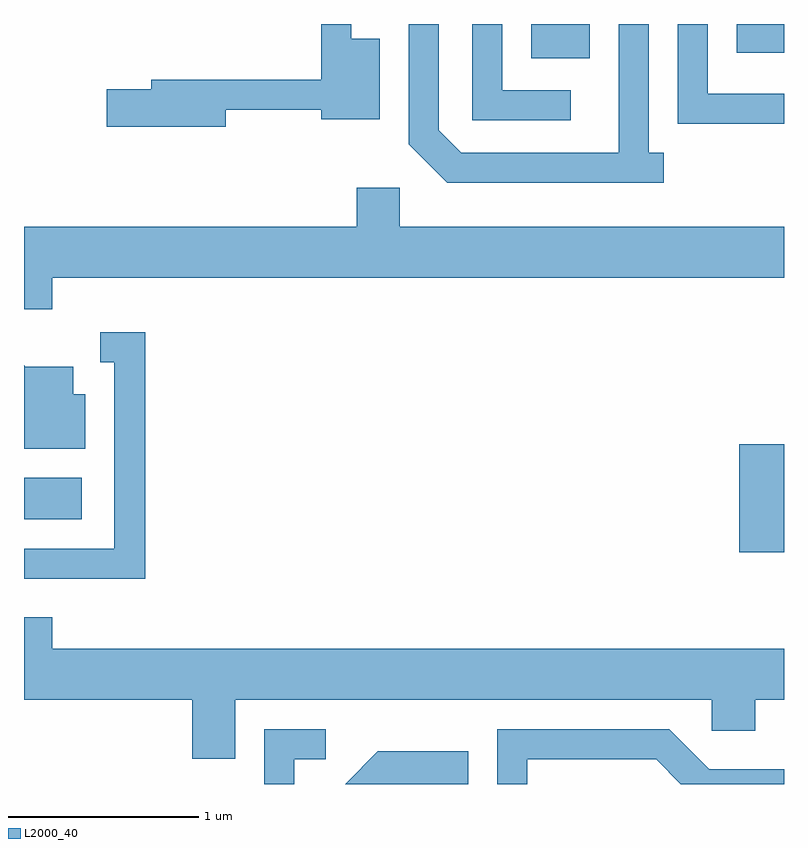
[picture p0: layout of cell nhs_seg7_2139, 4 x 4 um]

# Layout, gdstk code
import gdstk
lib = gdstk.Library(unit=1e-6, precision=1e-09)
def R(c, l, rs):  # rectangles x0, y0, x1, y1
    for r in rs: c.add(gdstk.rectangle(r[:2], r[2:], *l))
def P(c, l, *ps):  # polygons
    for p in ps: c.add(gdstk.Polygon(p, *l))
L2000_40 = (2000, 40)

nhs_seg7_2139 = lib.new_cell('nhs_seg7_2139')
R(nhs_seg7_2139, L2000_40, [(253.376,1779.471,253.611,1780.039), (249.611,1779.646,249.914,1779.864), (252.281,1782.071,252.589,1782.252), (253.361,1782.101,253.611,1782.252)])
P(nhs_seg7_2139, L2000_40, [(253.611,1781.884),(253.209,1781.884),(253.209,1782.252),(253.051,1782.252),(253.051,1781.726),(253.611,1781.726)],
  [(252.978,1781.574),(252.899,1781.574),(252.899,1782.252),(252.741,1782.252),(252.741,1781.574),(251.912,1781.574),(251.794,1781.692),(251.794,1782.252),(251.636,1782.252),(251.636,1781.619),(251.839,1781.416),(252.978,1781.416)],
  [(250.674,1781.801),(251.176,1781.801),(251.176,1781.751),(251.484,1781.751),(251.484,1782.174),(251.334,1782.174),(251.334,1782.252),(251.176,1782.252),(251.176,1781.959),(250.281,1781.959),(250.281,1781.909),(250.046,1781.909),(250.046,1781.711),(250.674,1781.711)],
  [(252.488,1781.904),(252.129,1781.904),(252.129,1782.252),(251.971,1782.252),(251.971,1781.746),(252.488,1781.746)],
  [(249.611,1780.751),(249.759,1780.751),(249.759,1780.916),(253.611,1780.916),(253.611,1781.184),(251.589,1781.184),(251.589,1781.389),(251.361,1781.389),(251.361,1781.184),(249.611,1781.184)],
  [(250.249,1780.629),(250.013,1780.629),(250.013,1780.471),(250.086,1780.471),(250.086,1779.489),(249.611,1779.489),(249.611,1779.331),(250.249,1779.331)],
  [(249.934,1780.304),(249.869,1780.304),(249.869,1780.449),(249.617,1780.449),(249.611,1780.455),(249.611,1780.016),(249.934,1780.016)],
  [(249.759,1779.129),(249.611,1779.129),(249.611,1778.696),(250.496,1778.696),(250.496,1778.386),(250.724,1778.386),(250.724,1778.696),(253.231,1778.696),(253.231,1778.531),(253.459,1778.531),(253.459,1778.696),(253.611,1778.696),(253.611,1778.964),(249.759,1778.964)],
  [(251.034,1778.381),(251.198,1778.381),(251.198,1778.539),(250.876,1778.539),(250.876,1778.252),(251.034,1778.252)],
  [(252.259,1778.381),(252.939,1778.381),(253.068,1778.252),(253.611,1778.252),(253.611,1778.329),(253.217,1778.329),(253.007,1778.539),(252.101,1778.539),(252.101,1778.252),(252.259,1778.252)],
  [(251.949,1778.424),(251.474,1778.424),(251.301,1778.252),(251.949,1778.252)])

lib.write_gds('nhs_seg7_2139.gds')
